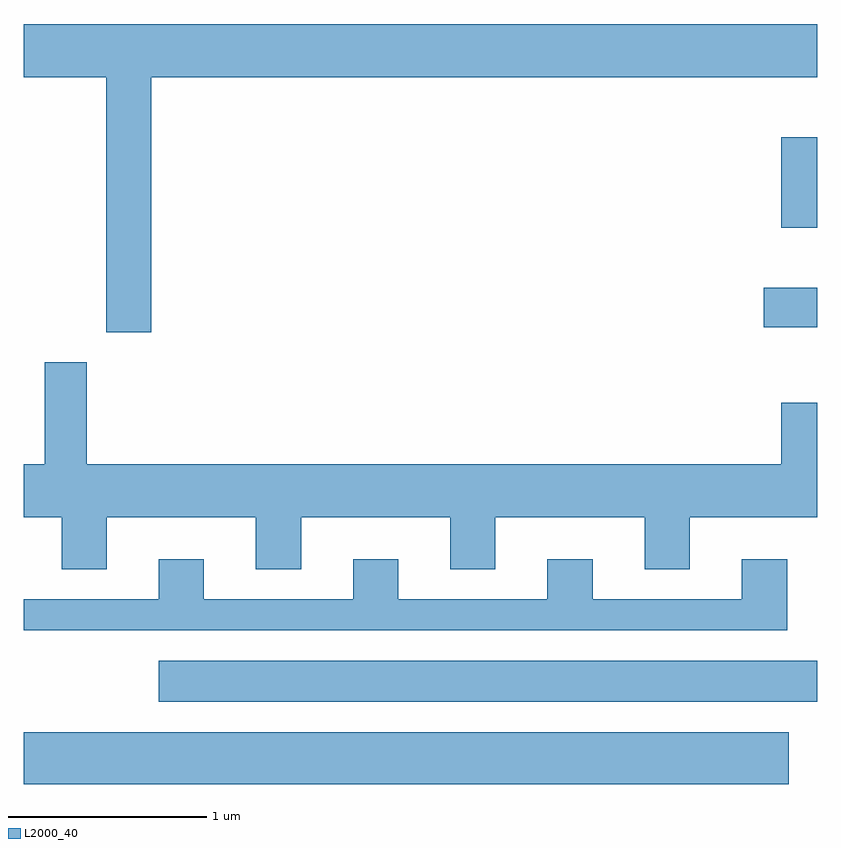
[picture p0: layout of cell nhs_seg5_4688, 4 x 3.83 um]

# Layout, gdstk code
import gdstk
lib = gdstk.Library(unit=1e-6, precision=1e-09)
def R(c, l, rs):  # rectangles x0, y0, x1, y1
    for r in rs: c.add(gdstk.rectangle(r[:2], r[2:], *l))
def P(c, l, *ps):  # polygons
    for p in ps: c.add(gdstk.Polygon(p, *l))
L2000_40 = (2000, 40)

nhs_seg5_4688 = lib.new_cell('nhs_seg5_4688')
R(nhs_seg5_4688, L2000_40, [(323.611,1502.072,327.469,1502.334), (324.291,1502.486,327.611,1502.694), (327.341,1504.376,327.611,1504.574), (327.431,1504.876,327.611,1505.334)])
P(nhs_seg5_4688, L2000_40, [(324.254,1505.636),(327.611,1505.636),(327.611,1505.904),(323.611,1505.904),(323.611,1505.636),(324.026,1505.636),(324.026,1504.351),(324.254,1504.351)],
  [(324.029,1503.416),(324.781,1503.416),(324.781,1503.156),(325.009,1503.156),(325.009,1503.416),(325.761,1503.416),(325.761,1503.156),(325.989,1503.156),(325.989,1503.416),(326.741,1503.416),(326.741,1503.156),(326.969,1503.156),(326.969,1503.416),(327.611,1503.416),(327.611,1503.994),(327.431,1503.994),(327.431,1503.684),(323.929,1503.684),(323.929,1504.199),(323.716,1504.199),(323.716,1503.684),(323.611,1503.684),(323.611,1503.416),(323.801,1503.416),(323.801,1503.156),(324.029,1503.156)],
  [(327.459,1503.204),(327.231,1503.204),(327.231,1503.004),(326.479,1503.004),(326.479,1503.204),(326.251,1503.204),(326.251,1503.004),(325.499,1503.004),(325.499,1503.204),(325.271,1503.204),(325.271,1503.004),(324.519,1503.004),(324.519,1503.204),(324.291,1503.204),(324.291,1503.004),(323.611,1503.004),(323.611,1502.846),(327.459,1502.846)])

lib.write_gds('nhs_seg5_4688.gds')
